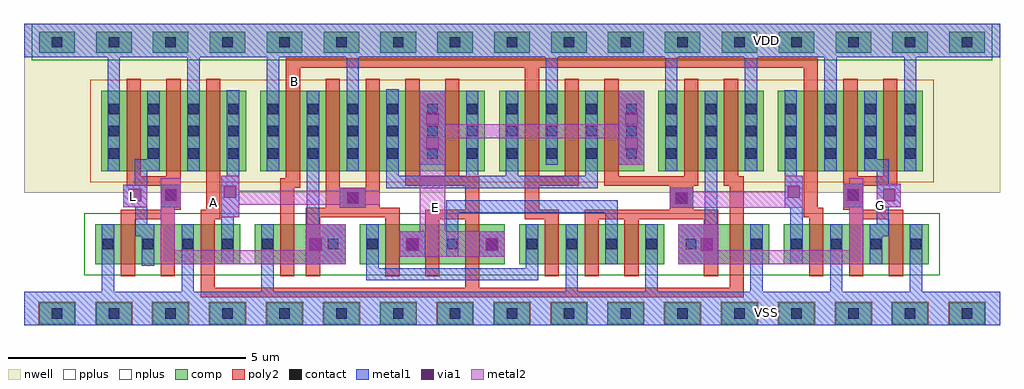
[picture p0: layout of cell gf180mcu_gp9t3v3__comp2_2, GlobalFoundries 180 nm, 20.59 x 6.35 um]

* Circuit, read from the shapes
.subckt gf180mcu_gp9t3v3__comp2_2 A B E G L VDD VSS
XM1 L n1 VSS VSS nfet_03v3 w=0.85u l=0.3u m=2
XM2 n2 A VSS VSS nfet_03v3 w=0.85u l=0.3u
XM3 n3 B VSS VSS nfet_03v3 w=0.85u l=0.3u
XM4 n1 n2 n3 VSS nfet_03v3 w=0.85u l=0.3u
XM5 E n2 n4 VSS nfet_03v3 w=0.85u l=0.3u
XM6 n5 A E VSS nfet_03v3 w=0.85u l=0.3u m=2
XM7 VSS B n4 VSS nfet_03v3 w=0.85u l=0.3u
XM8 n5 n6 VSS VSS nfet_03v3 w=0.85u l=0.3u m=2
XM9 n7 n6 n8 VSS nfet_03v3 w=0.85u l=0.3u
XM10 VSS A n7 VSS nfet_03v3 w=0.85u l=0.3u
XM11 VSS B n6 VSS nfet_03v3 w=0.85u l=0.3u
XM12 G n8 VSS VSS nfet_03v3 w=0.85u l=0.3u m=2
XM13 L n1 VDD VDD pfet_03v3 w=1.7u l=0.3u m=2
XM14 n2 A VDD VDD pfet_03v3 w=1.7u l=0.3u
XM15 n1 B VDD VDD pfet_03v3 w=1.7u l=0.3u
XM16 VDD n2 n1 VDD pfet_03v3 w=1.7u l=0.3u
XM17 n9 n2 VDD VDD pfet_03v3 w=1.7u l=0.3u
XM18 E A n9 VDD pfet_03v3 w=1.7u l=0.3u m=2
XM19 VDD B n9 VDD pfet_03v3 w=1.7u l=0.3u m=2
XM20 E n6 n9 VDD pfet_03v3 w=1.7u l=0.3u
XM21 n8 n6 VDD VDD pfet_03v3 w=1.7u l=0.3u
XM22 VDD A n8 VDD pfet_03v3 w=1.7u l=0.3u
XM23 VDD B n6 VDD pfet_03v3 w=1.7u l=0.3u
XM24 G n8 VDD VDD pfet_03v3 w=1.7u l=0.3u m=2
.ends

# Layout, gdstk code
import gdstk
lib = gdstk.Library(unit=1e-6, precision=1e-09)
def R(c, l, rs):  # rectangles x0, y0, x1, y1
    for r in rs: c.add(gdstk.rectangle(r[:2], r[2:], *l))
def A(c, l, x, y, w, h, nx, ny, dx, dy):  # array of equal rectangles
    R(c, l, [(x+i*dx, y+j*dy, x+i*dx+w, y+j*dy+h) for i in range(nx) for j in range(ny)])
def P(c, l, *ps):  # polygons
    for p in ps: c.add(gdstk.Polygon(p, *l))
nwell = (21, 0)
comp = (22, 0)
poly2 = (30, 0)
pplus = (31, 0)
nplus = (32, 0)
contact = (33, 0)
metal1 = (34, 0)
via1 = (35, 0)
metal2 = (36, 0)

gf180mcu_gp9t3v3__comp2_ = lib.new_cell('gf180mcu_gp9t3v3__comp2_2')
R(gf180mcu_gp9t3v3__comp2_, nwell, [(-66.89,67.205,-46.3,70.765)])
A(gf180mcu_gp9t3v3__comp2_, comp, -60.57, 64.435, 0.75, 0.45, 3, 2, 1.2, 5.72)
R(gf180mcu_gp9t3v3__comp2_, comp, [(-66.57,64.435,-65.82,64.885), (-66.57,64.435,-65.82,64.885), (-66.57,64.435,-65.82,64.885), (-66.57,64.435,-65.82,64.885), (-66.57,64.435,-65.82,64.885), (-66.57,64.435,-65.82,64.885), (-66.57,64.435,-65.82,64.885), (-66.57,64.435,-65.82,64.885), (-65.37,64.435,-64.62,64.885), (-65.37,64.435,-64.62,64.885), (-65.37,64.435,-64.62,64.885), (-65.37,64.435,-64.62,64.885), (-65.37,64.435,-64.62,64.885), (-65.37,64.435,-64.62,64.885), (-65.37,64.435,-64.62,64.885), (-65.37,64.435,-64.62,64.885), (-64.17,64.435,-63.42,64.885), (-64.17,64.435,-63.42,64.885), (-64.17,64.435,-63.42,64.885), (-64.17,64.435,-63.42,64.885), (-62.97,64.435,-62.22,64.885), (-62.97,64.435,-62.22,64.885), (-62.97,64.435,-62.22,64.885), (-62.97,64.435,-62.22,64.885), (-61.77,64.435,-61.02,64.885), (-61.77,64.435,-61.02,64.885), (-60.57,64.435,-59.82,64.885), (-58.17,64.435,-57.42,64.885), (-56.97,64.435,-56.22,64.885), (-56.97,64.435,-56.22,64.885), (-55.77,64.435,-55.02,64.885), (-55.77,64.435,-55.02,64.885), (-54.57,64.435,-53.82,64.885), (-54.57,64.435,-53.82,64.885), (-53.37,64.435,-52.62,64.885), (-53.37,64.435,-52.62,64.885), (-52.17,64.435,-51.42,64.885), (-52.17,64.435,-51.42,64.885), (-50.97,64.435,-50.22,64.885), (-50.97,64.435,-50.22,64.885), (-49.77,64.435,-49.02,64.885), (-49.77,64.435,-49.02,64.885), (-49.77,64.435,-49.02,64.885), (-49.77,64.435,-49.02,64.885), (-48.57,64.435,-47.82,64.885), (-48.57,64.435,-47.82,64.885), (-48.57,64.435,-47.82,64.885), (-48.57,64.435,-47.82,64.885), (-48.57,64.435,-47.82,64.885), (-48.57,64.435,-47.82,64.885), (-48.57,64.435,-47.82,64.885), (-48.57,64.435,-47.82,64.885), (-47.37,64.435,-46.62,64.885), (-47.37,64.435,-46.62,64.885), (-47.37,64.435,-46.62,64.885), (-47.37,64.435,-46.62,64.885), (-47.37,64.435,-46.62,64.885), (-47.37,64.435,-46.62,64.885), (-47.37,64.435,-46.62,64.885), (-47.37,64.435,-46.62,64.885), (-65.385,65.695,-62.325,66.545), (-62.025,65.695,-60.105,66.545), (-59.805,65.695,-56.745,66.545), (-56.445,65.695,-53.385,66.545), (-53.085,65.695,-51.165,66.545), (-50.865,65.695,-47.805,66.545), (-65.265,67.655,-62.205,69.355), (-61.905,67.655,-57.165,69.355), (-56.865,67.655,-53.805,69.355), (-53.505,67.655,-51.285,69.355), (-50.985,67.655,-47.925,69.355), (-66.57,70.155,-65.82,70.605), (-66.57,70.155,-65.82,70.605), (-65.37,70.155,-64.62,70.605), (-65.37,70.155,-64.62,70.605), (-64.17,70.155,-63.42,70.605), (-64.17,70.155,-63.42,70.605), (-62.97,70.155,-62.22,70.605), (-62.97,70.155,-62.22,70.605), (-62.97,70.155,-62.22,70.605), (-62.97,70.155,-62.22,70.605), (-61.77,70.155,-61.02,70.605), (-61.77,70.155,-61.02,70.605), (-60.57,70.155,-59.82,70.605), (-58.17,70.155,-57.42,70.605), (-56.97,70.155,-56.22,70.605), (-56.97,70.155,-56.22,70.605), (-55.77,70.155,-55.02,70.605), (-55.77,70.155,-55.02,70.605), (-54.57,70.155,-53.82,70.605), (-54.57,70.155,-53.82,70.605), (-53.37,70.155,-52.62,70.605), (-53.37,70.155,-52.62,70.605), (-52.17,70.155,-51.42,70.605), (-52.17,70.155,-51.42,70.605), (-50.97,70.155,-50.22,70.605), (-50.97,70.155,-50.22,70.605), (-49.77,70.155,-49.02,70.605), (-49.77,70.155,-49.02,70.605), (-48.57,70.155,-47.82,70.605), (-48.57,70.155,-47.82,70.605), (-48.57,70.155,-47.82,70.605), (-48.57,70.155,-47.82,70.605), (-47.37,70.155,-46.62,70.605), (-47.37,70.155,-46.62,70.605), (-47.37,70.155,-46.62,70.605), (-47.37,70.155,-46.62,70.605)])
A(gf180mcu_gp9t3v3__comp2_, poly2, -55.905, 65.445, 0.3, 1.2, 3, 1, 0.84, 0)
R(gf180mcu_gp9t3v3__comp2_, poly2, [(-63.165,65.005,-51.705,65.205), (-63.165,65.005,-51.705,65.205), (-63.165,65.205,-62.865,66.645), (-57.585,65.205,-57.285,67.355), (-52.005,65.205,-51.705,67.355), (-64.845,65.445,-64.545,66.645), (-64.005,65.445,-63.705,66.645), (-61.485,65.445,-61.185,67.315), (-61.485,65.445,-61.185,67.315), (-60.945,65.445,-60.645,66.685), (-60.945,65.445,-60.645,66.685), (-59.265,65.445,-58.965,66.685), (-58.425,65.445,-58.125,66.645), (-52.545,65.445,-52.245,66.645), (-50.325,65.445,-50.025,66.685), (-50.325,65.445,-50.025,66.685), (-49.485,65.445,-49.185,66.645), (-48.645,65.445,-48.345,66.645), (-64.845,66.645,-63.705,66.845), (-63.165,66.645,-62.745,66.845), (-58.425,66.645,-57.585,66.845), (-56.325,66.645,-55.605,66.845), (-55.065,66.645,-52.245,66.845), (-49.485,66.645,-48.345,66.845), (-60.945,66.685,-58.965,66.885), (-50.445,66.685,-50.025,66.885), (-50.445,66.685,-50.025,66.885), (-64.005,66.845,-63.585,67.355), (-63.045,66.845,-62.745,69.605), (-56.325,66.845,-56.025,69.845), (-53.27,66.845,-52.77,67.355), (-49.605,66.845,-49.185,67.355), (-60.525,66.885,-59.385,67.31), (-50.445,66.885,-50.145,69.845), (-50.445,66.885,-50.145,69.845), (-60.525,67.31,-60.225,69.605), (-60.525,67.31,-60.225,69.605), (-59.685,67.31,-59.385,69.605), (-61.485,67.315,-61.065,67.515), (-61.485,67.315,-61.065,67.515), (-64.725,67.355,-63.585,67.555), (-58.845,67.355,-58.545,69.605), (-58.545,67.355,-57.285,67.555), (-56.025,67.355,-55.185,67.555), (-54.645,67.355,-52.665,67.555), (-52.125,67.355,-51.705,67.555), (-49.605,67.355,-48.465,67.555), (-63.885,67.515,-63.585,69.605), (-61.365,67.515,-61.065,69.845), (-61.365,67.515,-61.065,69.845), (-64.725,67.555,-64.425,69.605), (-63.885,67.555,-63.585,69.605), (-58.005,67.555,-57.705,69.605), (-55.485,67.555,-55.185,69.605), (-54.645,67.555,-54.345,69.605), (-52.965,67.555,-52.665,69.605), (-52.125,67.555,-51.825,69.605), (-49.605,67.555,-49.305,69.605), (-48.765,67.555,-48.465,69.605), (-61.365,69.845,-50.145,70.045), (-61.365,69.845,-50.145,70.045)])
A(gf180mcu_gp9t3v3__comp2_, pplus, -66.59, 64.415, 0.79, 0.49, 17, 1, 1.2, 0)
R(gf180mcu_gp9t3v3__comp2_, pplus, [(-65.495,67.425,-47.695,69.585)])
R(gf180mcu_gp9t3v3__comp2_, nplus, [(-65.615,65.465,-47.575,66.775), (-64.235,65.465,-62.635,65.535), (-64.235,65.465,-62.635,65.535), (-61.715,65.465,-60.415,65.535), (-61.715,65.465,-60.415,65.535), (-58.655,65.465,-57.055,65.535), (-58.655,65.465,-57.055,65.535), (-56.135,65.465,-53.695,65.535), (-56.135,65.465,-53.695,65.535), (-52.775,65.465,-51.475,65.535), (-52.775,65.465,-51.475,65.535), (-50.555,65.465,-48.955,65.535), (-50.555,65.465,-48.955,65.535), (-64.235,66.705,-62.635,66.775), (-64.235,66.705,-62.635,66.775), (-61.715,66.705,-60.415,66.775), (-61.715,66.705,-60.415,66.775), (-58.655,66.705,-57.055,66.775), (-58.655,66.705,-57.055,66.775), (-56.135,66.705,-53.695,66.775), (-56.135,66.705,-53.695,66.775), (-52.775,66.705,-51.475,66.775), (-52.775,66.705,-51.475,66.775), (-50.555,66.705,-48.955,66.775), (-50.555,66.705,-48.955,66.775)])
P(gf180mcu_gp9t3v3__comp2_, nplus, [(-66.73,69.995),(-66.73,70.695),(-66.73,70.765),(-46.46,70.765),(-46.46,69.995)])
A(gf180mcu_gp9t3v3__comp2_, contact, -60.485, 66.01, 0.22, 0.22, 4, 1, 0.84, 0)
A(gf180mcu_gp9t3v3__comp2_, contact, -57.965, 66.01, 0.22, 0.22, 3, 1, 0.84, 0)
A(gf180mcu_gp9t3v3__comp2_, contact, -56.285, 66.01, 0.22, 0.22, 3, 1, 0.84, 0)
A(gf180mcu_gp9t3v3__comp2_, contact, -65.105, 67.925, 0.22, 0.22, 1, 3, 0, 0.47)
A(gf180mcu_gp9t3v3__comp2_, contact, -62.585, 67.925, 0.22, 0.22, 1, 3, 0, 0.47)
A(gf180mcu_gp9t3v3__comp2_, contact, -62.585, 67.925, 0.22, 0.22, 3, 3, 0.84, 0.47)
A(gf180mcu_gp9t3v3__comp2_, contact, -60.905, 67.925, 0.22, 0.22, 5, 3, 0.84, 0.47)
A(gf180mcu_gp9t3v3__comp2_, contact, -57.545, 67.925, 0.22, 0.22, 4, 3, 0.84, 0.47)
A(gf180mcu_gp9t3v3__comp2_, contact, -55.025, 67.925, 0.22, 0.22, 1, 3, 0, 0.47)
A(gf180mcu_gp9t3v3__comp2_, contact, -48.305, 67.925, 0.22, 0.22, 1, 3, 0, 0.47)
R(gf180mcu_gp9t3v3__comp2_, contact, [(-66.305,64.55,-66.085,64.77), (-66.305,64.55,-66.085,64.77), (-66.305,64.55,-66.085,64.77), (-66.305,64.55,-66.085,64.77), (-66.305,64.55,-66.085,64.77), (-66.305,64.55,-66.085,64.77), (-66.305,64.55,-66.085,64.77), (-66.305,64.55,-66.085,64.77), (-65.105,64.55,-64.885,64.77), (-65.105,64.55,-64.885,64.77), (-65.105,64.55,-64.885,64.77), (-65.105,64.55,-64.885,64.77), (-65.105,64.55,-64.885,64.77), (-65.105,64.55,-64.885,64.77), (-65.105,64.55,-64.885,64.77), (-65.105,64.55,-64.885,64.77), (-63.905,64.55,-63.685,64.77), (-63.905,64.55,-63.685,64.77), (-63.905,64.55,-63.685,64.77), (-63.905,64.55,-63.685,64.77), (-62.705,64.55,-62.485,64.77), (-62.705,64.55,-62.485,64.77), (-62.705,64.55,-62.485,64.77), (-62.705,64.55,-62.485,64.77), (-61.505,64.55,-61.285,64.77), (-61.505,64.55,-61.285,64.77), (-60.305,64.55,-60.085,64.77), (-60.305,64.55,-60.085,64.77), (-59.105,64.55,-58.885,64.77), (-59.105,64.55,-58.885,64.77), (-57.905,64.55,-57.685,64.77), (-57.905,64.55,-57.685,64.77), (-56.705,64.55,-56.485,64.77), (-56.705,64.55,-56.485,64.77), (-55.505,64.55,-55.285,64.77), (-55.505,64.55,-55.285,64.77), (-54.305,64.55,-54.085,64.77), (-54.305,64.55,-54.085,64.77), (-53.105,64.55,-52.885,64.77), (-53.105,64.55,-52.885,64.77), (-51.905,64.55,-51.685,64.77), (-51.905,64.55,-51.685,64.77), (-50.705,64.55,-50.485,64.77), (-50.705,64.55,-50.485,64.77), (-49.505,64.55,-49.285,64.77), (-49.505,64.55,-49.285,64.77), (-49.505,64.55,-49.285,64.77), (-49.505,64.55,-49.285,64.77), (-48.305,64.55,-48.085,64.77), (-48.305,64.55,-48.085,64.77), (-48.305,64.55,-48.085,64.77), (-48.305,64.55,-48.085,64.77), (-48.305,64.55,-48.085,64.77), (-48.305,64.55,-48.085,64.77), (-48.305,64.55,-48.085,64.77), (-48.305,64.55,-48.085,64.77), (-47.105,64.55,-46.885,64.77), (-47.105,64.55,-46.885,64.77), (-47.105,64.55,-46.885,64.77), (-47.105,64.55,-46.885,64.77), (-47.105,64.55,-46.885,64.77), (-47.105,64.55,-46.885,64.77), (-47.105,64.55,-46.885,64.77), (-47.105,64.55,-46.885,64.77), (-65.225,66.01,-65.005,66.23), (-64.385,66.01,-64.165,66.23), (-64.385,66.01,-64.165,66.23), (-63.545,66.01,-63.325,66.23), (-63.545,66.01,-63.325,66.23), (-62.705,66.01,-62.485,66.23), (-62.705,66.01,-62.485,66.23), (-61.865,66.01,-61.645,66.23), (-61.865,66.01,-61.645,66.23), (-60.485,66.01,-60.265,66.23), (-54.605,66.01,-54.385,66.23), (-53.765,66.01,-53.545,66.23), (-53.765,66.01,-53.545,66.23), (-52.925,66.01,-52.705,66.23), (-52.925,66.01,-52.705,66.23), (-51.545,66.01,-51.325,66.23), (-51.545,66.01,-51.325,66.23), (-50.705,66.01,-50.485,66.23), (-50.705,66.01,-50.485,66.23), (-49.865,66.01,-49.645,66.23), (-49.865,66.01,-49.645,66.23), (-49.025,66.01,-48.805,66.23), (-49.025,66.01,-48.805,66.23), (-48.185,66.01,-47.965,66.23), (-53.13,66.98,-52.91,67.2), (-53.13,66.98,-52.91,67.2), (-60.065,66.99,-59.845,67.21), (-63.905,67.05,-63.685,67.27), (-63.905,67.05,-63.685,67.27), (-49.505,67.05,-49.285,67.27), (-49.505,67.05,-49.285,67.27), (-64.265,67.925,-64.045,68.145), (-64.265,67.925,-64.045,68.145), (-63.425,67.925,-63.205,68.145), (-63.425,67.925,-63.205,68.145), (-54.185,67.925,-53.965,68.145), (-54.185,67.925,-53.965,68.145), (-53.345,67.925,-53.125,68.145), (-53.345,67.925,-53.125,68.145), (-52.505,67.925,-52.285,68.145), (-52.505,67.925,-52.285,68.145), (-51.665,67.925,-51.445,68.145), (-51.665,67.925,-51.445,68.145), (-50.825,67.925,-50.605,68.145), (-50.825,67.925,-50.605,68.145), (-49.985,67.925,-49.765,68.145), (-49.985,67.925,-49.765,68.145), (-49.145,67.925,-48.925,68.145), (-49.145,67.925,-48.925,68.145), (-64.265,68.395,-64.045,68.615), (-64.265,68.395,-64.045,68.615), (-63.425,68.395,-63.205,68.615), (-63.425,68.395,-63.205,68.615), (-54.185,68.395,-53.965,68.615), (-54.185,68.395,-53.965,68.615), (-53.345,68.395,-53.125,68.615), (-53.345,68.395,-53.125,68.615), (-52.505,68.395,-52.285,68.615), (-52.505,68.395,-52.285,68.615), (-51.665,68.395,-51.445,68.615), (-51.665,68.395,-51.445,68.615), (-50.825,68.395,-50.605,68.615), (-50.825,68.395,-50.605,68.615), (-49.985,68.395,-49.765,68.615), (-49.985,68.395,-49.765,68.615), (-49.145,68.395,-48.925,68.615), (-49.145,68.395,-48.925,68.615), (-64.265,68.865,-64.045,69.085), (-64.265,68.865,-64.045,69.085), (-63.425,68.865,-63.205,69.085), (-63.425,68.865,-63.205,69.085), (-54.185,68.865,-53.965,69.085), (-54.185,68.865,-53.965,69.085), (-53.345,68.865,-53.125,69.085), (-53.345,68.865,-53.125,69.085), (-52.505,68.865,-52.285,69.085), (-52.505,68.865,-52.285,69.085), (-51.665,68.865,-51.445,69.085), (-51.665,68.865,-51.445,69.085), (-50.825,68.865,-50.605,69.085), (-50.825,68.865,-50.605,69.085), (-49.985,68.865,-49.765,69.085), (-49.985,68.865,-49.765,69.085), (-49.145,68.865,-48.925,69.085), (-49.145,68.865,-48.925,69.085), (-66.305,70.27,-66.085,70.49), (-66.305,70.27,-66.085,70.49), (-65.105,70.27,-64.885,70.49), (-65.105,70.27,-64.885,70.49), (-63.905,70.27,-63.685,70.49), (-63.905,70.27,-63.685,70.49), (-62.705,70.27,-62.485,70.49), (-62.705,70.27,-62.485,70.49), (-62.705,70.27,-62.485,70.49), (-62.705,70.27,-62.485,70.49), (-61.505,70.27,-61.285,70.49), (-61.505,70.27,-61.285,70.49), (-60.305,70.27,-60.085,70.49), (-60.305,70.27,-60.085,70.49), (-59.105,70.27,-58.885,70.49), (-59.105,70.27,-58.885,70.49), (-57.905,70.27,-57.685,70.49), (-57.905,70.27,-57.685,70.49), (-56.705,70.27,-56.485,70.49), (-56.705,70.27,-56.485,70.49), (-55.505,70.27,-55.285,70.49), (-55.505,70.27,-55.285,70.49), (-54.305,70.27,-54.085,70.49), (-54.305,70.27,-54.085,70.49), (-53.105,70.27,-52.885,70.49), (-53.105,70.27,-52.885,70.49), (-51.905,70.27,-51.685,70.49), (-51.905,70.27,-51.685,70.49), (-50.705,70.27,-50.485,70.49), (-50.705,70.27,-50.485,70.49), (-49.505,70.27,-49.285,70.49), (-49.505,70.27,-49.285,70.49), (-48.305,70.27,-48.085,70.49), (-48.305,70.27,-48.085,70.49), (-48.305,70.27,-48.085,70.49), (-48.305,70.27,-48.085,70.49), (-47.105,70.27,-46.885,70.49), (-47.105,70.27,-46.885,70.49), (-47.105,70.27,-46.885,70.49), (-47.105,70.27,-46.885,70.49)])
A(gf180mcu_gp9t3v3__comp2_, metal1, -65.125, 67.655, 0.26, 2.41, 4, 1, 1.68, 0)
A(gf180mcu_gp9t3v3__comp2_, metal1, -53.365, 67.655, 0.26, 2.41, 4, 1, 1.68, 0)
R(gf180mcu_gp9t3v3__comp2_, metal1, [(-66.89,64.415,-46.3,65.115), (-65.245,65.115,-64.985,66.545), (-63.565,65.115,-63.305,66.545), (-63.565,65.115,-63.305,66.545), (-61.885,65.115,-61.625,66.545), (-55.465,65.115,-55.205,66.545), (-53.785,65.115,-53.525,66.545), (-51.565,65.115,-51.305,66.545), (-49.885,65.115,-49.625,66.545), (-49.885,65.115,-49.625,66.545), (-48.205,65.115,-47.945,66.545), (-59.67,65.355,-56.045,65.615), (-59.665,65.615,-59.405,66.545), (-56.305,65.615,-56.045,66.545), (-56.305,65.615,-56.045,66.545), (-64.405,65.67,-64.145,66.285), (-64.405,65.67,-64.145,66.285), (-62.73,65.695,-62.47,66.685), (-62.73,65.695,-62.47,66.685), (-60.945,65.695,-60.105,66.545), (-60.945,65.695,-60.105,66.545), (-54.625,65.695,-54.365,66.785), (-53.085,65.695,-52.245,66.545), (-53.085,65.695,-52.245,66.545), (-50.725,65.695,-50.465,66.885), (-50.725,65.695,-50.465,66.885), (-49.045,65.7,-48.785,66.285), (-49.045,65.7,-48.785,66.285), (-58.965,65.85,-58.425,66.39), (-57.285,65.85,-56.745,66.39), (-57.985,65.855,-57.725,66.785), (-64.545,66.285,-64.145,66.545), (-49.045,66.285,-48.645,66.545), (-49.045,66.285,-48.645,66.545), (-64.545,66.545,-64.295,66.895), (-60.925,66.545,-60.665,69.355), (-60.925,66.545,-60.665,69.355), (-52.525,66.545,-52.265,69.355), (-52.525,66.545,-52.265,69.355), (-48.905,66.545,-48.645,66.895), (-62.73,66.685,-62.35,67.565), (-62.73,66.685,-62.35,67.565), (-57.985,66.785,-54.365,67.045), (-60.225,66.885,-59.685,67.31), (-53.27,66.885,-52.775,67.315), (-53.27,66.885,-52.775,67.315), (-50.845,66.885,-50.465,67.565), (-50.845,66.885,-50.465,67.565), (-64.8,66.895,-64.295,67.375), (-64.005,66.895,-63.585,67.375), (-64.005,66.895,-63.585,67.375), (-49.605,66.895,-49.185,67.4), (-49.605,66.895,-49.185,67.4), (-48.905,66.895,-48.39,67.4), (-59.245,67.3,-54.785,67.56), (-58.405,67.3,-54.785,67.56), (-64.555,67.31,-64.295,67.655), (-64.555,67.375,-64.295,67.655), (-48.905,67.4,-48.645,67.655), (-59.245,67.56,-58.985,69.39), (-57.565,67.56,-57.305,69.355), (-56.725,67.56,-56.465,69.355), (-55.045,67.56,-54.785,69.355), (-55.045,67.56,-54.785,69.355), (-62.61,67.565,-62.35,69.37), (-62.61,67.565,-62.35,69.37), (-50.845,67.565,-50.585,69.37), (-50.845,67.565,-50.585,69.37), (-64.555,67.655,-64.03,67.915), (-64.555,67.655,-64.03,67.915), (-53.365,67.655,-53.105,69.935), (-51.685,67.655,-51.425,69.935), (-49.165,67.655,-48.645,67.915), (-49.165,67.655,-48.645,67.915), (-58.545,67.8,-58.005,69.355), (-55.885,67.8,-55.625,70.065), (-54.345,67.8,-53.805,69.355), (-54.345,67.8,-53.805,69.355), (-64.29,67.915,-64.03,69.355), (-64.29,67.915,-64.03,69.355), (-49.165,67.915,-48.905,69.355), (-49.165,67.915,-48.905,69.355), (-66.89,70.065,-46.3,70.765)])
R(gf180mcu_gp9t3v3__comp2_, via1, [(-60.87,65.985,-60.61,66.245), (-58.825,65.985,-58.565,66.245), (-57.145,65.985,-56.885,66.245), (-52.615,65.985,-52.355,66.245), (-52.615,65.985,-52.355,66.245), (-53.15,66.96,-52.89,67.22), (-53.15,66.96,-52.89,67.22), (-60.085,66.97,-59.825,67.23), (-64.68,67.03,-64.42,67.29), (-64.68,67.03,-64.42,67.29), (-63.925,67.03,-63.665,67.29), (-63.925,67.03,-63.665,67.29), (-49.525,67.03,-49.265,67.29), (-49.525,67.03,-49.265,67.29), (-48.765,67.03,-48.505,67.29), (-48.765,67.03,-48.505,67.29), (-62.675,67.095,-62.415,67.355), (-62.675,67.095,-62.415,67.355), (-50.78,67.095,-50.52,67.355), (-50.78,67.095,-50.52,67.355), (-58.405,68.115,-58.145,68.375), (-54.205,68.115,-53.945,68.375), (-54.205,68.115,-53.945,68.375), (-58.405,68.635,-58.145,68.895), (-54.205,68.635,-53.945,68.895), (-54.205,68.635,-53.945,68.895)])
R(gf180mcu_gp9t3v3__comp2_, metal2, [(-64.005,65.695,-60.105,65.995), (-64.005,65.695,-60.105,65.995), (-53.085,65.695,-49.185,65.995), (-53.085,65.695,-49.185,65.995), (-58.965,65.85,-58.425,66.39), (-58.965,65.85,-56.745,66.39), (-57.285,65.85,-56.745,66.39), (-64.005,65.995,-63.705,66.895), (-64.005,65.995,-63.705,66.895), (-60.945,65.995,-60.105,66.545), (-60.945,65.995,-60.105,66.545), (-53.085,65.995,-52.245,66.545), (-53.085,65.995,-52.245,66.545), (-49.485,65.995,-49.185,66.895), (-49.485,65.995,-49.185,66.895), (-58.545,66.39,-58.005,68.35), (-62.73,66.685,-62.35,66.95), (-62.73,66.685,-62.35,66.95), (-60.225,66.885,-59.685,67.31), (-53.27,66.885,-50.465,67.185), (-64.8,66.895,-64.295,67.375), (-64.005,66.895,-63.585,67.375), (-64.005,66.895,-63.585,67.375), (-49.605,66.895,-49.185,67.4), (-49.605,66.895,-49.185,67.4), (-48.905,66.895,-48.39,67.4), (-53.27,66.94,-50.465,67.24), (-62.73,66.95,-59.385,67.25), (-53.27,67.185,-52.775,67.315), (-53.27,67.185,-52.775,67.315), (-50.845,67.185,-50.465,67.565), (-50.845,67.185,-50.465,67.565), (-62.73,67.25,-62.35,67.565), (-62.73,67.25,-62.35,67.565), (-64.005,67.375,-63.585,67.515), (-49.485,67.4,-49.185,67.515), (-49.485,67.4,-49.185,67.515), (-54.345,67.8,-53.805,68.35), (-54.345,67.8,-53.805,68.35), (-58.545,68.35,-53.805,68.65), (-58.545,68.65,-58.005,69.355), (-54.345,68.65,-53.805,69.355), (-54.345,68.65,-53.805,69.355)])
gf180mcu_gp9t3v3__comp2_.add(gdstk.Label('G', (-48.82,66.94), layer=36, texttype=10))
gf180mcu_gp9t3v3__comp2_.add(gdstk.Label('L', (-64.59,67.13), layer=36, texttype=10))
gf180mcu_gp9t3v3__comp2_.add(gdstk.Label('E', (-58.215,66.89), layer=36, texttype=10))
gf180mcu_gp9t3v3__comp2_.add(gdstk.Label('VDD', (-51.22,70.425), layer=34, texttype=10))
gf180mcu_gp9t3v3__comp2_.add(gdstk.Label('VSS', (-51.22,64.68), layer=34, texttype=10))
gf180mcu_gp9t3v3__comp2_.add(gdstk.Label('A', (-62.89,67), layer=30, texttype=10))
gf180mcu_gp9t3v3__comp2_.add(gdstk.Label('B', (-61.19,69.55), layer=30, texttype=10))
gf180mcu_gp9t3v3__comp2_.add(gdstk.Label('B', (-61.19,69.55), layer=30, texttype=10))
gf180mcu_gp9t3v3__comp2_.add(gdstk.Label('A', (-62.89,67), layer=30, texttype=10))

lib.write_gds('gf180mcu_gp9t3v3__comp2_2.gds')
